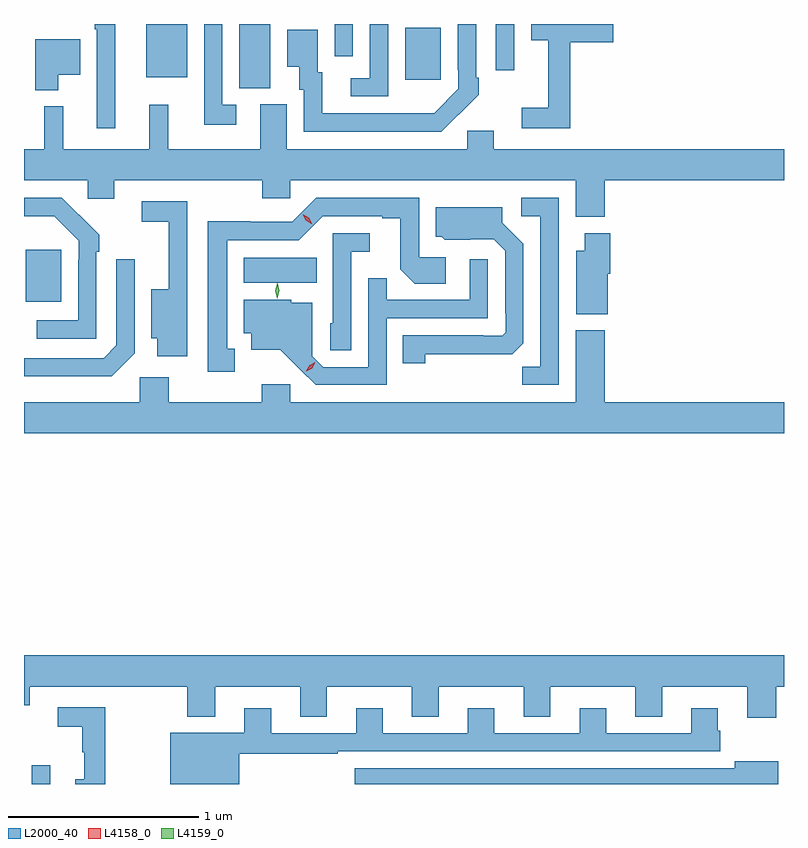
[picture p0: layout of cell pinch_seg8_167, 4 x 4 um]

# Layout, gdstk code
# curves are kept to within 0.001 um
import gdstk
lib = gdstk.Library(unit=1e-6, precision=1e-09)
def R(c, l, rs):  # rectangles x0, y0, x1, y1
    for r in rs: c.add(gdstk.rectangle(r[:2], r[2:], *l))
def P(c, l, *ps):  # polygons
    for p in ps: c.add(gdstk.Polygon(p, *l))
L2000_40 = (2000, 40)
L4158_0 = (4158, 0)
L4159_0 = (4159, 0)

pinch_seg8_167 = lib.new_cell('pinch_seg8_167')
R(pinch_seg8_167, L2000_40, [(705.687,1159.943,705.783,1160.041), (705.653,1162.481,705.841,1162.756), (706.802,1162.58,707.186,1162.714), (706.778,1163.605,706.942,1163.943), (707.651,1163.649,707.839,1163.923), (706.289,1163.663,706.504,1163.943), (708.129,1163.7,708.225,1163.943), (707.28,1163.772,707.376,1163.943)])
P(pinch_seg8_167, L2000_40, [(707.933,1163.467),(707.934,1163.466),(708.039,1163.571),(708.039,1163.659),(708.024,1163.659),(708.024,1163.943),(707.928,1163.943),(707.928,1163.701),(707.931,1163.701),(707.931,1163.601),(707.803,1163.473),(707.215,1163.472),(707.215,1163.688),(707.191,1163.688),(707.191,1163.914),(707.03,1163.914),(707.03,1163.717),(707.093,1163.717),(707.093,1163.598),(707.118,1163.598),(707.118,1163.376),(707.842,1163.376)],
  [(706.762,1163.517),(706.689,1163.517),(706.689,1163.943),(706.593,1163.943),(706.593,1163.412),(706.762,1163.412)],
  [(708.521,1163.846),(708.745,1163.846),(708.745,1163.943),(708.314,1163.943),(708.314,1163.858),(708.404,1163.858),(708.404,1163.503),(708.264,1163.503),(708.264,1163.394),(708.521,1163.394)],
  [(706.126,1163.943),(706.017,1163.943),(706.017,1163.915),(706.029,1163.915),(706.029,1163.394),(706.126,1163.394)],
  [(707.562,1163.943),(707.466,1163.943),(707.466,1163.658),(707.364,1163.658),(707.364,1163.562),(707.562,1163.562)],
  [(705.826,1163.675),(705.94,1163.675),(705.94,1163.863),(705.704,1163.863),(705.704,1163.594),(705.826,1163.594)],
  [(706.9,1163.027),(707.046,1163.027),(707.046,1163.12),(708.548,1163.12),(708.548,1162.928),(708.701,1162.928),(708.701,1163.12),(709.645,1163.12),(709.645,1163.284),(708.118,1163.284),(708.118,1163.382),(707.979,1163.382),(707.979,1163.284),(707.029,1163.284),(707.029,1163.52),(706.889,1163.52),(706.889,1163.284),(706.403,1163.284),(706.403,1163.518),(706.304,1163.518),(706.304,1163.284),(705.851,1163.284),(705.851,1163.509),(705.751,1163.509),(705.751,1163.284),(705.645,1163.284),(705.645,1163.12),(705.981,1163.12),(705.981,1163.022),(706.12,1163.022),(706.12,1163.12),(706.9,1163.12)],
  [(706.753,1162.233),(706.714,1162.233),(706.714,1162.806),(707.091,1162.806),(707.217,1162.932),(707.531,1162.932),(707.531,1162.92),(707.625,1162.92),(707.625,1162.652),(707.701,1162.576),(707.866,1162.576),(707.866,1162.716),(707.724,1162.716),(707.724,1163.028),(707.184,1163.028),(707.058,1162.902),(706.836,1162.902),(706.836,1162.904),(706.613,1162.904),(706.613,1162.113),(706.753,1162.113)],
  [(706.026,1162.745),(706.041,1162.745),(706.041,1162.833),(705.844,1163.028),(705.645,1163.028),(705.645,1162.932),(705.805,1162.932),(705.933,1162.803),(705.933,1162.703),(705.93,1162.703),(705.93,1162.383),(705.711,1162.383),(705.711,1162.287),(706.026,1162.287)],
  [(708.459,1163.028),(708.261,1163.028),(708.261,1162.932),(708.363,1162.932),(708.363,1162.139),(708.268,1162.139),(708.268,1162.044),(708.459,1162.044)],
  [(706.504,1162.442),(706.503,1162.442),(706.503,1163.01),(706.266,1163.01),(706.266,1162.902),(706.406,1162.902),(706.406,1162.546),(706.316,1162.546),(706.316,1162.289),(706.346,1162.289),(706.346,1162.194),(706.504,1162.194)],
  [(707.757,1162.204),(708.214,1162.205),(708.273,1162.264),(708.273,1162.786),(708.163,1162.896),(708.163,1162.978),(707.813,1162.978),(707.813,1162.824),(707.844,1162.824),(707.86,1162.808),(708.117,1162.809),(708.177,1162.749),(708.177,1162.42),(708.18,1162.42),(708.18,1162.32),(708.162,1162.302),(708.062,1162.302),(708.062,1162.305),(707.638,1162.305),(707.638,1162.158),(707.757,1162.158)],
  [(708.718,1162.629),(708.731,1162.629),(708.731,1162.843),(708.596,1162.843),(708.596,1162.75),(708.551,1162.75),(708.551,1162.415),(708.718,1162.415)],
  [(707.367,1162.745),(707.464,1162.745),(707.464,1162.842),(707.271,1162.842),(707.271,1162.368),(707.256,1162.368),(707.256,1162.225),(707.367,1162.225)],
  [(706.227,1162.209),(706.227,1162.705),(706.131,1162.705),(706.131,1162.251),(706.065,1162.185),(705.645,1162.185),(705.645,1162.088),(706.106,1162.088)],
  [(707.553,1162.395),(708.087,1162.395),(708.087,1162.705),(707.991,1162.705),(707.991,1162.491),(707.555,1162.491),(707.555,1162.604),(707.457,1162.604),(707.457,1162.137),(707.22,1162.137),(707.163,1162.194),(707.163,1162.477),(707.052,1162.477),(707.052,1162.492),(706.802,1162.492),(706.802,1162.316),(706.841,1162.316),(706.841,1162.229),(706.993,1162.229),(707.18,1162.044),(707.553,1162.044)],
  [(709.645,1161.952),(708.701,1161.952),(708.701,1162.33),(708.548,1162.33),(708.548,1161.952),(707.046,1161.952),(707.046,1162.048),(706.895,1162.048),(706.895,1161.952),(706.406,1161.952),(706.406,1162.084),(706.254,1162.084),(706.254,1161.952),(705.645,1161.952),(705.645,1161.788),(709.645,1161.788)],
  [(709.604,1160.456),(709.645,1160.456),(709.645,1160.62),(705.645,1160.62),(705.645,1160.358),(705.676,1160.358),(705.676,1160.456),(706.504,1160.456),(706.504,1160.297),(706.651,1160.297),(706.651,1160.456),(707.099,1160.456),(707.099,1160.296),(707.239,1160.296),(707.239,1160.456),(707.687,1160.456),(707.687,1160.296),(707.827,1160.296),(707.827,1160.456),(708.275,1160.456),(708.275,1160.296),(708.415,1160.296),(708.415,1160.456),(708.863,1160.456),(708.863,1160.296),(709.003,1160.296),(709.003,1160.456),(709.451,1160.456),(709.451,1160.292),(709.604,1160.292)],
  [(706.072,1160.346),(705.822,1160.346),(705.822,1160.245),(705.951,1160.245),(705.951,1160.109),(705.962,1160.109),(705.962,1159.969),(705.914,1159.969),(705.914,1159.943),(706.072,1159.943)],
  [(706.777,1160.103),(707.297,1160.103),(707.297,1160.115),(709.31,1160.115),(709.31,1160.223),(709.297,1160.223),(709.297,1160.341),(709.157,1160.341),(709.157,1160.211),(708.709,1160.211),(708.709,1160.341),(708.569,1160.341),(708.569,1160.211),(708.121,1160.211),(708.121,1160.341),(707.981,1160.341),(707.981,1160.211),(707.533,1160.211),(707.533,1160.341),(707.393,1160.341),(707.393,1160.211),(706.945,1160.211),(706.945,1160.341),(706.805,1160.341),(706.805,1160.212),(706.415,1160.212),(706.415,1159.943),(706.777,1159.943)],
  [(709.615,1160.062),(709.385,1160.062),(709.385,1160.026),(707.385,1160.026),(707.385,1159.943),(709.615,1159.943)])
P(pinch_seg8_167, L4158_0, [(707.131,1162.116),(707.131,1162.117),(707.148,1162.146),(707.178,1162.162),(707.179,1162.162),(707.179,1162.162),(707.162,1162.132),(707.131,1162.116)],
  [(707.161,1162.89),(707.129,1162.909),(707.112,1162.942),(707.112,1162.942),(707.113,1162.942),(707.144,1162.923),(707.161,1162.89),(707.161,1162.89)])
P(pinch_seg8_167, L4159_0, [(706.977,1162.498),(706.968,1162.538),(706.979,1162.577),(706.979,1162.578),(706.98,1162.577),(706.988,1162.538),(706.978,1162.498),(706.978,1162.498)])

lib.write_gds('pinch_seg8_167.gds')
